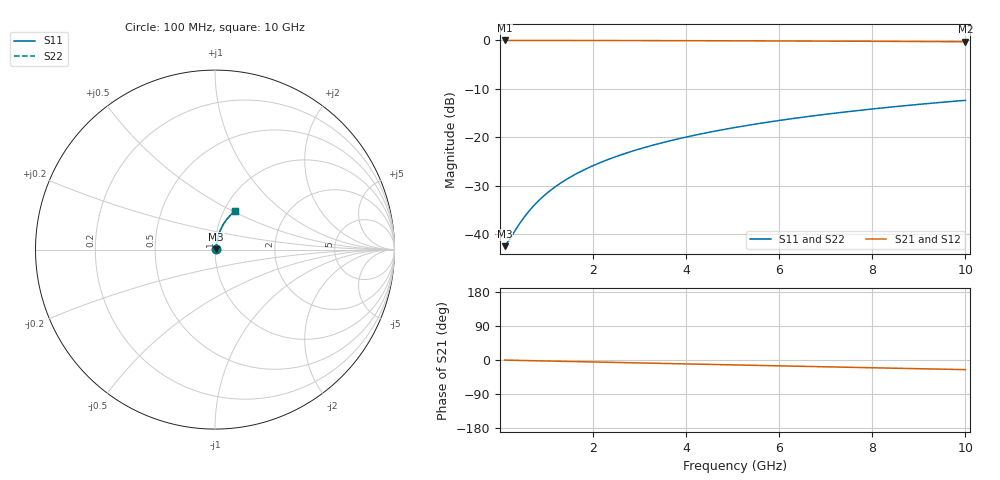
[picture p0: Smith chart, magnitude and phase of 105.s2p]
# Hz S RI R 50.00
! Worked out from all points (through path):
!   100 points, 100 MHz to 10 GHz, reference 50 ohm
!   highest |S21| = -0.06 dB at 100 MHz (marker M1); lowest = -0.3 dB at 10 GHz (marker M2)
!   group delay of S21, straight-line fit = 7.08 ps
!   lowest |S11| = -42.5 dB at 100 MHz (marker M3), VSWR 1.02, Z = 50.7 + j0.252 ohm
!   |S11| at or under -10 dB: start of sweep to end of sweep
!   |S22| runs from -42.5 to -12.4 dB; largest |S21 - S12| = 0
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1e8  0.0071 0.00249  0.9929 -0.00448  0.9929 -0.00448  0.0071 0.00249
2e8  0.00718 0.00498  0.9928 -0.00896  0.9928 -0.00896  0.00718 0.00498
4e8  0.00738 0.00995  0.9926 -0.0179  0.9926 -0.0179  0.00738 0.00995
5e8  0.0075 0.0124  0.9924 -0.0224  0.9924 -0.0224  0.0075 0.0124
6e8  0.00764 0.0149  0.9923 -0.0269  0.9923 -0.0269  0.00764 0.0149
7e8  0.00781 0.0174  0.9921 -0.0314  0.9921 -0.0314  0.00781 0.0174
8e8  0.00799 0.0199  0.9919 -0.0358  0.9919 -0.0358  0.00799 0.0199
1e9  0.00843 0.0248  0.9914 -0.0448  0.9914 -0.0448  0.00843 0.0248
1.2e9  0.00895 0.0298  0.9907 -0.0537  0.9907 -0.0537  0.00895 0.0298
1.5e9  0.00989 0.0372  0.9896 -0.0671  0.9896 -0.0671  0.00989 0.0372
1.8e9  0.011 0.0445  0.9883 -0.0804  0.9883 -0.0804  0.011 0.0445
2.1e9  0.0124 0.0519  0.9867 -0.0938  0.9867 -0.0938  0.0124 0.0519
2.5e9  0.0144 0.0616  0.9843 -0.1114  0.9843 -0.1114  0.0144 0.0616
2.9e9  0.0169 0.0712  0.9814 -0.129  0.9814 -0.129  0.0169 0.0712
3.4e9  0.0204 0.083  0.9773 -0.1509  0.9773 -0.1509  0.0204 0.083
4.2e9  0.0271 0.1016  0.9693 -0.1855  0.9693 -0.1855  0.0271 0.1016
5.1e9  0.0361 0.1218  0.9586 -0.2237  0.9586 -0.2237  0.0361 0.1218
5.9e9  0.0454 0.139  0.9474 -0.2569  0.9474 -0.2569  0.0454 0.139
6.7e9  0.0559 0.1554  0.9349 -0.2894  0.9349 -0.2894  0.0559 0.1554
7.5e9  0.0675 0.1709  0.921 -0.3211  0.921 -0.3211  0.0675 0.1709
8.4e9  0.0817 0.1873  0.9039 -0.3556  0.9039 -0.3556  0.0817 0.1873
1e10  0.1096 0.2132  0.8698 -0.4138  0.8698 -0.4138  0.1096 0.2132
